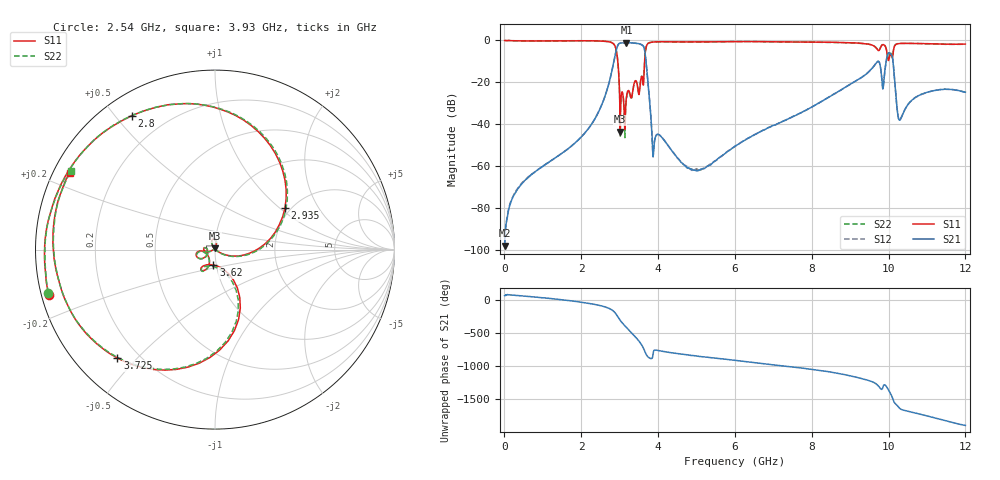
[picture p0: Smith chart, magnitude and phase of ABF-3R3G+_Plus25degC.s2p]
! Mini-Circuits
! S2P DATA File Format
! Type: Bandpass Filter
! Model:ABF-3R3G+
! All S Parameters are in dB deg format
! TEST CONDITIONS: INPUT POWER = 0 dBm @ Temperature = +25 deg C
# MHz S DB R 50
!Frequency  S11 dB  S11 DEG  S21 dB  S21 DEG  S12 dB  S12 DEG  S22 dB  S22 DEG
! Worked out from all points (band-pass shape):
!   1102 points, 10 MHz to 12 GHz, reference 50 ohm
!   highest |S21| = -1.12 dB at 3.18 GHz (marker M1); lowest = -97.9 dB at 10 MHz (marker M2)
!   |S21| within 3 dB of the highest: 2.922 GHz to 3.647 GHz (724.8 MHz wide, 22.1 % of centre)
!   lowest |S11| = -43.5 dB at 3.02 GHz (marker M3), VSWR 1.01, Z = 49.8 + j0.621 ohm
!   |S11| at or under -10 dB: 2.955 GHz to 3.652 GHz (696.5 MHz wide, 21.1 % of centre)
!   |S22| runs from -46.4 to -0.1 dB; largest |S21 - S12| = 0.0018
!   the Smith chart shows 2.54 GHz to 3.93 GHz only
!   S11 on the Smith chart (normalised r, x): 2.54 GHz: 0.02, -0.13; 2.8 GHz: 0.08, +0.55; 2.935 GHz: 1.87, +1.09; 3.62 GHz: 0.97, -0.17; 3.725 GHz: 0.12, -0.44; 3.93 GHz: 0.05, +0.25
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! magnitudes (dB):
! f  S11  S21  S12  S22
! 10 MHz  -0.1  -97.9  -98.0  -0.1
! 2.01 GHz  -0.2  -45.9  -45.9  -0.2
! 2.54 GHz  -0.4  -30.6  -30.6  -0.4
! 2.8 GHz  -1.1  -14.7  -14.7  -1.1
! 2.935 GHz  -6.9  -3.3  -3.3  -6.8
! 3.02 GHz  -43.5  -1.3  -1.3  -45.6
! 3.075 GHz  -24.8  -1.2  -1.2  -24.9
! 3.14 GHz  -42.4  -1.2  -1.2  -46.4
! 3.18 GHz  -27.1  -1.1  -1.1  -27.9
! 3.62 GHz  -21.3  -2.8  -2.8  -20.4
! 3.725 GHz  -1.8  -16.9  -17.0  -1.8
! 3.865 GHz  -0.8  -53.9  -53.9  -0.8
! 3.93 GHz  -0.8  -46.3  -46.3  -0.8
! 4.01 GHz  -0.7  -44.8  -44.8  -0.7
! 4.9 GHz  -0.8  -61.6  -62.0  -0.8
! 6.01 GHz  -0.6  -50.4  -50.5  -0.6
! 8.02 GHz  -0.9  -31.6  -31.6  -0.9
! 9.72 GHz  -4.6  -10.0  -10.1  -4.4
! 9.86 GHz  -2.0  -22.8  -22.9  -1.9
! 10.01 GHz  -9.1  -5.9  -5.9  -8.1
! 10.29 GHz  -1.5  -38.0  -38.0  -1.5
! 12 GHz  -1.8  -24.7  -24.7  -1.9
